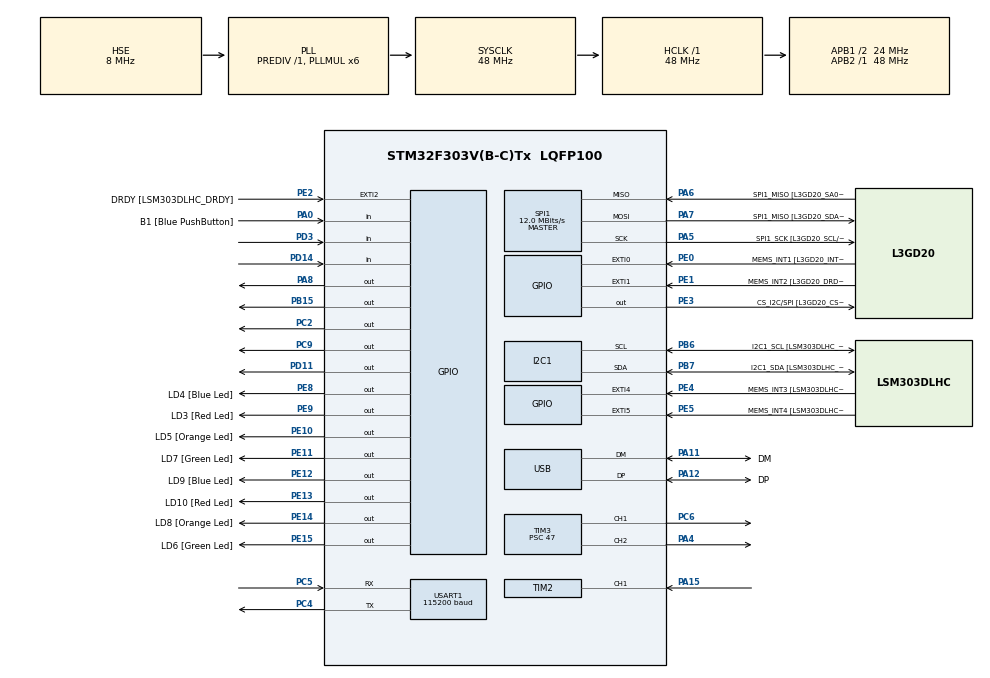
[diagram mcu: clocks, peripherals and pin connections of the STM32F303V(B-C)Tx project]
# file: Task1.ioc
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I2C1.Timing=0x00201D2B
I2C1.Timing-I2C=0x2000090E
Mcu.Family=STM32F3
Mcu.Name=STM32F303V(B-C)Tx
Mcu.Package=LQFP100
NVIC.PriorityGroup=NVIC_PRIORITYGROUP_0
NVIC.TIM2_IRQn=true\:0\:0\:false\:false\:true\:true\:true\:true
PA0.GPIO_Label=B1 [Blue PushButton]
PA0.Signal=GPIO_Input
PA11.GPIO_Label=DM
PA11.Mode=Device
PA11.Signal=USB_DM
PA12.GPIO_Label=DP
PA12.Mode=Device
PA12.Signal=USB_DP
PA13.GPIO_Label=SWDIO
PA13.Mode=Serial_Wire
PA13.Signal=SYS_JTMS-SWDIO
PA14.GPIO_Label=SWCLK
PA14.Mode=Serial_Wire
PA14.Signal=SYS_JTCK-SWCLK
PA15.Signal=S_TIM2_CH1_ETR
PA4.Signal=S_TIM3_CH2
PA5.GPIO_Label=SPI1_SCK [L3GD20_SCL/SPC]
PA5.Mode=Full_Duplex_Master
PA5.Signal=SPI1_SCK
PA6.GPIO_Label=SPI1_MISO [L3GD20_SA0/SDO]
PA6.Mode=Full_Duplex_Master
PA6.Signal=SPI1_MISO
PA7.GPIO_Label=SPI1_MISO [L3GD20_SDA/SDI/SDO]
PA7.Mode=Full_Duplex_Master
PA7.Signal=SPI1_MOSI
PA8.Signal=GPIO_Output
PB15.Signal=GPIO_Output
PB3.GPIO_Label=SWO
PB3.Signal=SYS_JTDO-TRACESWO
PB6.GPIO_Label=I2C1_SCL [LSM303DLHC_SCL]
PB6.GPIO_Pu=GPIO_PULLUP
PB6.Mode=I2C
PB6.Signal=I2C1_SCL
PB7.GPIO_Label=I2C1_SDA [LSM303DLHC_SDA]
PB7.GPIO_Pu=GPIO_PULLUP
PB7.Mode=I2C
PB7.Signal=I2C1_SDA
PC14-OSC32_IN.GPIO_Label=OSC32_IN
PC14-OSC32_IN.Signal=RCC_OSC32_IN
PC15-OSC32_OUT.GPIO_Label=OSC32_OUT
PC15-OSC32_OUT.Signal=RCC_OSC32_OUT
PC2.Signal=GPIO_Output
PC4.Mode=Asynchronous
PC4.Signal=USART1_TX
PC5.Mode=Asynchronous
PC5.Signal=USART1_RX
PC6.Signal=S_TIM3_CH1
PC9.Signal=GPIO_Output
PD11.Signal=GPIO_Output
PD14.Signal=GPIO_Input
PD3.Signal=GPIO_Input
PE0.GPIO_Label=MEMS_INT1 [L3GD20_INT1]
PE0.GPIO_ModeDefaultEXTI=GPIO_MODE_EVT_RISING
PE0.Signal=GPXTI0
PE1.GPIO_Label=MEMS_INT2 [L3GD20_DRDY/INT2]
PE1.GPIO_ModeDefaultEXTI=GPIO_MODE_EVT_RISING
PE1.Signal=GPXTI1
PE10.GPIO_Label=LD5 [Orange Led]
PE10.Signal=GPIO_Output
PE11.GPIO_Label=LD7 [Green Led]
PE11.Signal=GPIO_Output
PE12.GPIO_Label=LD9 [Blue Led]
PE12.Signal=GPIO_Output
PE13.GPIO_Label=LD10 [Red Led]
PE13.Signal=GPIO_Output
PE14.GPIO_Label=LD8 [Orange Led]
PE14.Signal=GPIO_Output
PE15.GPIO_Label=LD6 [Green Led]
PE15.Signal=GPIO_Output
PE2.GPIO_Label=DRDY [LSM303DLHC_DRDY]
PE2.GPIO_ModeDefaultEXTI=GPIO_MODE_EVT_RISING
PE2.Signal=GPXTI2
PE3.GPIO_Label=CS_I2C/SPI [L3GD20_CS_I2C/SPI]
PE3.Signal=GPIO_Output
PE4.GPIO_Label=MEMS_INT3 [LSM303DLHC_INT1]
PE4.GPIO_ModeDefaultEXTI=GPIO_MODE_EVT_RISING
PE4.Signal=GPXTI4
PE5.GPIO_Label=MEMS_INT4 [LSM303DLHC_INT2]
PE5.GPIO_ModeDefaultEXTI=GPIO_MODE_EVT_RISING
PE5.Signal=GPXTI5
PE8.GPIO_Label=LD4 [Blue Led]
PE8.Signal=GPIO_Output
PE9.GPIO_Label=LD3 [Red Led]
PE9.Signal=GPIO_Output
PF0-OSC_IN.GPIO_Label=OSC_IN
PF0-OSC_IN.Mode=HSE-External-Clock-Source
PF0-OSC_IN.Signal=RCC_OSC_IN
PF1-OSC_OUT.GPIO_Label=OSC_OUT
PF1-OSC_OUT.Signal=RCC_OSC_OUT
ProjectManager.HeapSize=0x200
ProjectManager.StackSize=0x400
ProjectManager.TargetToolchain=CMake
RCC.AHBFreq_Value=48000000
RCC.APB1CLKDivider=RCC_HCLK_DIV2
RCC.APB1Freq_Value=24000000
RCC.APB1TimFreq_Value=48000000
RCC.APB2Freq_Value=48000000
RCC.APB2TimFreq_Value=48000000
RCC.CortexFreq_Value=48000000
RCC.HCLKFreq_Value=48000000
RCC.HSE_VALUE=8000000
RCC.HSI_VALUE=8000000
RCC.LSE_VALUE=32768
RCC.PLLMUL=RCC_PLL_MUL6
RCC.SYSCLKFreq_VALUE=48000000
RCC.SYSCLKSourceVirtual=RCC_SYSCLKSOURCE_PLLCLK
RCC.USBFreq_Value=48000000
SH.S_TIM2_CH1_ETR.0=TIM2_CH1,Input_Capture1_from_TI1
SH.S_TIM3_CH1.0=TIM3_CH1,PWM Generation1 CH1
SH.S_TIM3_CH2.0=TIM3_CH2,PWM Generation2 CH2
SPI1.BaudRatePrescaler=SPI_BAUDRATEPRESCALER_4
SPI1.BaudRatePrescaler-Full_Duplex_Master=SPI_BAUDRATEPRESCALER_2
SPI1.CalculateBaudRate=12.0 MBits/s
SPI1.CalculateBaudRate-Full_Duplex_Master=24.0 MBits/s
SPI1.Direction=SPI_DIRECTION_2LINES
SPI1.Mode=SPI_MODE_MASTER
SPI1.Mode-Full_Duplex_Master=SPI_MODE_MASTER
SPI1.VirtualType=VM_MASTER
TIM2.Channel-Input_Capture1_from_TI1=TIM_CHANNEL_1
TIM2.Prescaler=0
TIM3.Channel-PWM\ Generation1\ CH1=TIM_CHANNEL_1
TIM3.Channel-PWM\ Generation2\ CH2=TIM_CHANNEL_2
TIM3.Period=999
TIM3.Prescaler=47
TIM3.Pulse-PWM\ Generation1\ CH1=500
USART1.BaudRate=115200
USART1.VirtualMode-Asynchronous=VM_ASYNC
VP_TIM2_VS_ClockSourceINT.Mode=Internal
board=STM32F3DISCOVERY

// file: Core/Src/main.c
/* USER CODE BEGIN Header */
/**
  ******************************************************************************
  * @file           : main.c
  * @brief          : Main program body
  ******************************************************************************
  * @attention
  *
  * Copyright (c) 2026 STMicroelectronics.
  * All rights reserved.
  *
  * This software is licensed under terms that can be found in the LICENSE file
  * in the root directory of this software component.
  * If no LICENSE file comes with this software, it is provided AS-IS.
  *
  ******************************************************************************
  */
/* USER CODE END Header */
#include "main.h"

/* USER CODE BEGIN Includes */
#include "stdarg.h"
#include "stdio.h"
#include "string.h"
/* USER CODE END Includes */

I2C_HandleTypeDef hi2c1;

SPI_HandleTypeDef hspi1;

TIM_HandleTypeDef htim2;
TIM_HandleTypeDef htim3;

UART_HandleTypeDef huart1;

PCD_HandleTypeDef hpcd_USB_FS;

void SystemClock_Config(void);
static void MX_GPIO_Init(void);
static void MX_I2C1_Init(void);
static void MX_SPI1_Init(void);
static void MX_TIM3_Init(void);
static void MX_USB_PCD_Init(void);
static void MX_TIM2_Init(void);
static void MX_USART1_UART_Init(void);

/* USER CODE BEGIN 0 */

void stop(){
    HAL_GPIO_WritePin(GPIOD, GPIO_PIN_11, GPIO_PIN_SET);
    HAL_GPIO_WritePin(GPIOB, GPIO_PIN_15, GPIO_PIN_SET);
    HAL_GPIO_WritePin(GPIOC, GPIO_PIN_9, GPIO_PIN_SET);
    HAL_GPIO_WritePin(GPIOC, GPIO_PIN_2, GPIO_PIN_SET);

    uint32_t ARR = 999;
    __HAL_TIM_SET_COMPARE(&htim3, TIM_CHANNEL_1 , ARR - 0);
    __HAL_TIM_SET_COMPARE(&htim3, TIM_CHANNEL_2 , ARR - 0);
}

void forward_motor(){

    HAL_GPIO_WritePin(GPIOD, GPIO_PIN_11, GPIO_PIN_RESET);
    HAL_GPIO_WritePin(GPIOB, GPIO_PIN_15, GPIO_PIN_SET);
    HAL_GPIO_WritePin(GPIOC, GPIO_PIN_9, GPIO_PIN_RESET);
    HAL_GPIO_WritePin(GPIOC, GPIO_PIN_2, GPIO_PIN_SET);

    uint32_t ARR = 999;
    __HAL_TIM_SET_COMPARE(&htim3, TIM_CHANNEL_1 , ARR );
    __HAL_TIM_SET_COMPARE(&htim3, TIM_CHANNEL_2 , ARR );
  }
  void backward_motor(){
    HAL_GPIO_WritePin(GPIOD, GPIO_PIN_11, GPIO_PIN_SET);
    HAL_GPIO_WritePin(GPIOB, GPIO_PIN_15, GPIO_PIN_RESET);
    HAL_GPIO_WritePin(GPIOC, GPIO_PIN_9, GPIO_PIN_SET);
    HAL_GPIO_WritePin(GPIOC, GPIO_PIN_2, GPIO_PIN_RESET);

    uint32_t ARR = 999;
    __HAL_TIM_SET_COMPARE(&htim3, TIM_CHANNEL_1 , ARR - 700);
    __HAL_TIM_SET_COMPARE(&htim3, TIM_CHANNEL_2 , ARR - 700);
  }

/* USER CODE BEGIN 0 */
void cout(const char *fmt, ...) {
    char buffer[128];
    va_list args;
    va_start(args, fmt);
    int l = vsnprintf(buffer, sizeof(buffer), fmt, args);
    va_end(args);
    if (l > 0) {
        HAL_UART_Transmit(&huart1, (uint8_t*)buffer, l, HAL_MAX_DELAY);
    }
}

/* Global Variables for Input Capture */
volatile uint32_t capture_ticks = 0;
volatile uint8_t is_captured = 0;
const float PPR = 330.0f;
const float TIMER_FREQ = 666666.67f; // 48MHz clock with Prescaler of 71

/* Input Capture Interrupt Callback */
void HAL_TIM_IC_CaptureCallback(TIM_HandleTypeDef *htim) {
    if (htim->Instance == TIM2) {
        // Get the captured value (time elapsed since last reset)
        capture_ticks = HAL_TIM_ReadCapturedValue(htim, TIM_CHANNEL_1);

        // Reset counter immediately for the next pulse period
        __HAL_TIM_SET_COUNTER(htim, 0);

        // Signal to the main loop that we have a new measurement
        is_captured = 1;
    }
}
/* USER CODE END 0 */

int main(void)
{

  /* MCU Configuration--------------------------------------------------------*/

  /* Reset of all peripherals, Initializes the Flash interface and the Systick. */
  HAL_Init();

  /* Configure the system clock */
  SystemClock_Config();

  /* Initialize all configured peripherals */
  MX_GPIO_Init();
  MX_I2C1_Init();
  MX_SPI1_Init();
  MX_TIM3_Init();
  MX_USB_PCD_Init();
  MX_TIM2_Init();
  MX_USART1_UART_Init();

  /* Infinite loop */
  /* USER CODE BEGIN WHILE */
  // Startt PWM for both motors
  HAL_TIM_PWM_Start(&htim3, TIM_CHANNEL_1);  // Left motor PWM (D9)
  HAL_TIM_PWM_Start(&htim3, TIM_CHANNEL_2);  // Right motor PWM (D10)

  // Set initial direction: FORWARD
  // D12 = HIGH, D8 = LOW for right motor forward
  // D7 = HIGH, D6 = LOW for left motor forward

  /* USER CODE END 2 */

  /* Infinite loop */
  /* USER CODE BEGIN WHILE */
  /* USER CODE BEGIN 2 */
  // Start PWM for both motors
  HAL_TIM_PWM_Start(&htim3, TIM_CHANNEL_1);
  HAL_TIM_PWM_Start(&htim3, TIM_CHANNEL_2);

  HAL_TIM_IC_Start_IT(&htim2, TIM_CHANNEL_1);

  // Set motor to spin forward so the encoder actually turns
  // backward_motor();
  /* USER CODE END 2 */

  /* Infinite loop */
  /* USER CODE BEGIN WHILE */
  while (1)
  {
      // Drive Left Motor Forward (PWM on D9)
      HAL_GPIO_WritePin(GPIOC, GPIO_PIN_2, GPIO_PIN_SET);
      HAL_GPIO_WritePin(GPIOC, GPIO_PIN_9, GPIO_PIN_RESET);
      __HAL_TIM_SET_COMPARE(&htim3, TIM_CHANNEL_2 , 800);

      // Drive Right Motor Forward (PWM on D10)
      HAL_GPIO_WritePin(GPIOD, GPIO_PIN_11, GPIO_PIN_SET);
      HAL_GPIO_WritePin(GPIOB, GPIO_PIN_15, GPIO_PIN_RESET);
      __HAL_TIM_SET_COMPARE(&htim3, TIM_CHANNEL_1 , 800);

      // Calculate and Print RPM if a new capture is ready
      if (is_captured) {
          float frequency = 0.0f;
          float rpm = 0.0f;

          if (capture_ticks > 0) {
              // Frequency = Timer Clock / Ticks per pulse
              frequency = TIMER_FREQ / (float)capture_ticks;

              // RPM = (Freq * 60) / Pulses Per Revolution
              rpm = (frequency * 60.0f) / PPR;

              cout("Input Capture Freq: %d Hz | RPM: %d\r\n", (int)frequency, (int)rpm);
          }

          // Reset flag to wait for the next interrupt
          is_captured = 0;
      }

      HAL_Delay(250); // Small delay to prevent flooding the serial terminal
    /* USER CODE END WHILE */

  }
}

void SystemClock_Config(void)
{
  RCC_OscInitTypeDef RCC_OscInitStruct = {0};
  RCC_ClkInitTypeDef RCC_ClkInitStruct = {0};
  RCC_PeriphCLKInitTypeDef PeriphClkInit = {0};

  /** Initializes the RCC Oscillators according to the specified parameters
  * in the RCC_OscInitTypeDef structure.
  */
  RCC_OscInitStruct.OscillatorType = RCC_OSCILLATORTYPE_HSI|RCC_OSCILLATORTYPE_HSE;
  RCC_OscInitStruct.HSEState = RCC_HSE_BYPASS;
  RCC_OscInitStruct.HSEPredivValue = RCC_HSE_PREDIV_DIV1;
  RCC_OscInitStruct.HSIState = RCC_HSI_ON;
  RCC_OscInitStruct.HSICalibrationValue = RCC_HSICALIBRATION_DEFAULT;
  RCC_OscInitStruct.PLL.PLLState = RCC_PLL_ON;
  RCC_OscInitStruct.PLL.PLLSource = RCC_PLLSOURCE_HSE;
  RCC_OscInitStruct.PLL.PLLMUL = RCC_PLL_MUL6;
  if (HAL_RCC_OscConfig(&RCC_OscInitStruct) != HAL_OK)
  {
    Error_Handler();
  }

  /** Initializes the CPU, AHB and APB buses clocks
  */
  RCC_ClkInitStruct.ClockType = RCC_CLOCKTYPE_HCLK|RCC_CLOCKTYPE_SYSCLK
                              |RCC_CLOCKTYPE_PCLK1|RCC_CLOCKTYPE_PCLK2;
  RCC_ClkInitStruct.SYSCLKSource = RCC_SYSCLKSOURCE_PLLCLK;
  RCC_ClkInitStruct.AHBCLKDivider = RCC_SYSCLK_DIV1;
  RCC_ClkInitStruct.APB1CLKDivider = RCC_HCLK_DIV2;
  RCC_ClkInitStruct.APB2CLKDivider = RCC_HCLK_DIV1;

  if (HAL_RCC_ClockConfig(&RCC_ClkInitStruct, FLASH_LATENCY_1) != HAL_OK)
  {
    Error_Handler();
  }
  PeriphClkInit.PeriphClockSelection = RCC_PERIPHCLK_USB|RCC_PERIPHCLK_USART1
                              |RCC_PERIPHCLK_I2C1;
  PeriphClkInit.Usart1ClockSelection = RCC_USART1CLKSOURCE_PCLK2;
  PeriphClkInit.I2c1ClockSelection = RCC_I2C1CLKSOURCE_HSI;
  PeriphClkInit.USBClockSelection = RCC_USBCLKSOURCE_PLL;
  if (HAL_RCCEx_PeriphCLKConfig(&PeriphClkInit) != HAL_OK)
  {
    Error_Handler();
  }
}

static void MX_I2C1_Init(void)
{

  hi2c1.Instance = I2C1;
  hi2c1.Init.Timing = 0x00201D2B;
  hi2c1.Init.OwnAddress1 = 0;
  hi2c1.Init.AddressingMode = I2C_ADDRESSINGMODE_7BIT;
  hi2c1.Init.DualAddressMode = I2C_DUALADDRESS_DISABLE;
  hi2c1.Init.OwnAddress2 = 0;
  hi2c1.Init.OwnAddress2Masks = I2C_OA2_NOMASK;
  hi2c1.Init.GeneralCallMode = I2C_GENERALCALL_DISABLE;
  hi2c1.Init.NoStretchMode = I2C_NOSTRETCH_DISABLE;
  if (HAL_I2C_Init(&hi2c1) != HAL_OK)
  {
    Error_Handler();
  }

  /** Configure Analogue filter
  */
  if (HAL_I2CEx_ConfigAnalogFilter(&hi2c1, I2C_ANALOGFILTER_ENABLE) != HAL_OK)
  {
    Error_Handler();
  }

  /** Configure Digital filter
  */
  if (HAL_I2CEx_ConfigDigitalFilter(&hi2c1, 0) != HAL_OK)
  {
    Error_Handler();
  }

}

static void MX_SPI1_Init(void)
{

  /* SPI1 parameter configuration*/
  hspi1.Instance = SPI1;
  hspi1.Init.Mode = SPI_MODE_MASTER;
  hspi1.Init.Direction = SPI_DIRECTION_2LINES;
  hspi1.Init.DataSize = SPI_DATASIZE_4BIT;
  hspi1.Init.CLKPolarity = SPI_POLARITY_LOW;
  hspi1.Init.CLKPhase = SPI_PHASE_1EDGE;
  hspi1.Init.NSS = SPI_NSS_SOFT;
  hspi1.Init.BaudRatePrescaler = SPI_BAUDRATEPRESCALER_4;
  hspi1.Init.FirstBit = SPI_FIRSTBIT_MSB;
  hspi1.Init.TIMode = SPI_TIMODE_DISABLE;
  hspi1.Init.CRCCalculation = SPI_CRCCALCULATION_DISABLE;
  hspi1.Init.CRCPolynomial = 7;
  hspi1.Init.CRCLength = SPI_CRC_LENGTH_DATASIZE;
  hspi1.Init.NSSPMode = SPI_NSS_PULSE_ENABLE;
  if (HAL_SPI_Init(&hspi1) != HAL_OK)
  {
    Error_Handler();
  }

}

static void MX_TIM2_Init(void)
{

  TIM_ClockConfigTypeDef sClockSourceConfig = {0};
  TIM_MasterConfigTypeDef sMasterConfig = {0};
  TIM_IC_InitTypeDef sConfigIC = {0};

  htim2.Instance = TIM2;
  htim2.Init.Prescaler = 0;
  htim2.Init.CounterMode = TIM_COUNTERMODE_UP;
  htim2.Init.Period = 4294967295;
  htim2.Init.ClockDivision = TIM_CLOCKDIVISION_DIV1;
  htim2.Init.AutoReloadPreload = TIM_AUTORELOAD_PRELOAD_DISABLE;
  if (HAL_TIM_Base_Init(&htim2) != HAL_OK)
  {
    Error_Handler();
  }
  sClockSourceConfig.ClockSource = TIM_CLOCKSOURCE_INTERNAL;
  if (HAL_TIM_ConfigClockSource(&htim2, &sClockSourceConfig) != HAL_OK)
  {
    Error_Handler();
  }
  if (HAL_TIM_IC_Init(&htim2) != HAL_OK)
  {
    Error_Handler();
  }
  sMasterConfig.MasterOutputTrigger = TIM_TRGO_RESET;
  sMasterConfig.MasterSlaveMode = TIM_MASTERSLAVEMODE_DISABLE;
  if (HAL_TIMEx_MasterConfigSynchronization(&htim2, &sMasterConfig) != HAL_OK)
  {
    Error_Handler();
  }
  sConfigIC.ICPolarity = TIM_INPUTCHANNELPOLARITY_RISING;
  sConfigIC.ICSelection = TIM_ICSELECTION_DIRECTTI;
  sConfigIC.ICPrescaler = TIM_ICPSC_DIV1;
  sConfigIC.ICFilter = 0;
  if (HAL_TIM_IC_ConfigChannel(&htim2, &sConfigIC, TIM_CHANNEL_1) != HAL_OK)
  {
    Error_Handler();
  }

}

static void MX_TIM3_Init(void)
{

  TIM_MasterConfigTypeDef sMasterConfig = {0};
  TIM_OC_InitTypeDef sConfigOC = {0};

  htim3.Instance = TIM3;
  htim3.Init.Prescaler = 47;
  htim3.Init.CounterMode = TIM_COUNTERMODE_UP;
  htim3.Init.Period = 999;
  htim3.Init.ClockDivision = TIM_CLOCKDIVISION_DIV1;
  htim3.Init.AutoReloadPreload = TIM_AUTORELOAD_PRELOAD_DISABLE;
  if (HAL_TIM_PWM_Init(&htim3) != HAL_OK)
  {
    Error_Handler();
  }
  sMasterConfig.MasterOutputTrigger = TIM_TRGO_RESET;
  sMasterConfig.MasterSlaveMode = TIM_MASTERSLAVEMODE_DISABLE;
  if (HAL_TIMEx_MasterConfigSynchronization(&htim3, &sMasterConfig) != HAL_OK)
  {
    Error_Handler();
  }
  sConfigOC.OCMode = TIM_OCMODE_PWM1;
  sConfigOC.Pulse = 500;
  sConfigOC.OCPolarity = TIM_OCPOLARITY_HIGH;
  sConfigOC.OCFastMode = TIM_OCFAST_DISABLE;
  if (HAL_TIM_PWM_ConfigChannel(&htim3, &sConfigOC, TIM_CHANNEL_1) != HAL_OK)
  {
    Error_Handler();
  }
  sConfigOC.Pulse = 0;
  if (HAL_TIM_PWM_ConfigChannel(&htim3, &sConfigOC, TIM_CHANNEL_2) != HAL_OK)
  {
    Error_Handler();
  }
  HAL_TIM_MspPostInit(&htim3);

}

static void MX_USART1_UART_Init(void)
{

  huart1.Instance = USART1;
  huart1.Init.BaudRate = 115200;
  huart1.Init.WordLength = UART_WORDLENGTH_8B;
  huart1.Init.StopBits = UART_STOPBITS_1;
  huart1.Init.Parity = UART_PARITY_NONE;
  huart1.Init.Mode = UART_MODE_TX_RX;
  huart1.Init.HwFlowCtl = UART_HWCONTROL_NONE;
  huart1.Init.OverSampling = UART_OVERSAMPLING_16;
  huart1.Init.OneBitSampling = UART_ONE_BIT_SAMPLE_DISABLE;
  huart1.AdvancedInit.AdvFeatureInit = UART_ADVFEATURE_NO_INIT;
  if (HAL_UART_Init(&huart1) != HAL_OK)
  {
    Error_Handler();
  }

}

static void MX_USB_PCD_Init(void)
{

  hpcd_USB_FS.Instance = USB;
  hpcd_USB_FS.Init.dev_endpoints = 8;
  hpcd_USB_FS.Init.speed = PCD_SPEED_FULL;
  hpcd_USB_FS.Init.phy_itface = PCD_PHY_EMBEDDED;
  hpcd_USB_FS.Init.low_power_enable = DISABLE;
  hpcd_USB_FS.Init.battery_charging_enable = DISABLE;
  if (HAL_PCD_Init(&hpcd_USB_FS) != HAL_OK)
  {
    Error_Handler();
  }

}

static void MX_GPIO_Init(void)
{
  GPIO_InitTypeDef GPIO_InitStruct = {0};

  /* GPIO Ports Clock Enable */
  __HAL_RCC_GPIOE_CLK_ENABLE();
  __HAL_RCC_GPIOC_CLK_ENABLE();
  __HAL_RCC_GPIOF_CLK_ENABLE();
  __HAL_RCC_GPIOA_CLK_ENABLE();
  __HAL_RCC_GPIOB_CLK_ENABLE();
  __HAL_RCC_GPIOD_CLK_ENABLE();

  /*Configure GPIO pin Output Level */
  HAL_GPIO_WritePin(GPIOE, CS_I2C_SPI_Pin|LD4_Pin|LD3_Pin|LD5_Pin
                          |LD7_Pin|LD9_Pin|LD10_Pin|LD8_Pin
                          |LD6_Pin, GPIO_PIN_RESET);

  /*Configure GPIO pin Output Level */
  HAL_GPIO_WritePin(GPIOC, GPIO_PIN_2|GPIO_PIN_9, GPIO_PIN_RESET);

  /*Configure GPIO pin Output Level */
  HAL_GPIO_WritePin(GPIOB, GPIO_PIN_15, GPIO_PIN_RESET);

  /*Configure GPIO pin Output Level */
  HAL_GPIO_WritePin(GPIOD, GPIO_PIN_11, GPIO_PIN_RESET);

  /*Configure GPIO pin Output Level */
  HAL_GPIO_WritePin(GPIOA, GPIO_PIN_8, GPIO_PIN_RESET);

  /*Configure GPIO pins : DRDY_Pin MEMS_INT3_Pin MEMS_INT4_Pin MEMS_INT1_Pin
                           MEMS_INT2_Pin */
  GPIO_InitStruct.Pin = DRDY_Pin|MEMS_INT3_Pin|MEMS_INT4_Pin|MEMS_INT1_Pin
                          |MEMS_INT2_Pin;
  GPIO_InitStruct.Mode = GPIO_MODE_EVT_RISING;
  GPIO_InitStruct.Pull = GPIO_NOPULL;
  HAL_GPIO_Init(GPIOE, &GPIO_InitStruct);

  /*Configure GPIO pins : CS_I2C_SPI_Pin LD4_Pin LD3_Pin LD5_Pin
                           LD7_Pin LD9_Pin LD10_Pin LD8_Pin
                           LD6_Pin */
  GPIO_InitStruct.Pin = CS_I2C_SPI_Pin|LD4_Pin|LD3_Pin|LD5_Pin
                          |LD7_Pin|LD9_Pin|LD10_Pin|LD8_Pin
                          |LD6_Pin;
  GPIO_InitStruct.Mode = GPIO_MODE_OUTPUT_PP;
  GPIO_InitStruct.Pull = GPIO_NOPULL;
  GPIO_InitStruct.Speed = GPIO_SPEED_FREQ_LOW;
  HAL_GPIO_Init(GPIOE, &GPIO_InitStruct);

  /*Configure GPIO pins : PC2 PC9 */
  GPIO_InitStruct.Pin = GPIO_PIN_2|GPIO_PIN_9;
  GPIO_InitStruct.Mode = GPIO_MODE_OUTPUT_PP;
  GPIO_InitStruct.Pull = GPIO_NOPULL;
  GPIO_InitStruct.Speed = GPIO_SPEED_FREQ_LOW;
  HAL_GPIO_Init(GPIOC, &GPIO_InitStruct);

  /*Configure GPIO pin : B1_Pin */
  GPIO_InitStruct.Pin = B1_Pin;
  GPIO_InitStruct.Mode = GPIO_MODE_INPUT;
  GPIO_InitStruct.Pull = GPIO_NOPULL;
  HAL_GPIO_Init(B1_GPIO_Port, &GPIO_InitStruct);

  /*Configure GPIO pin : PB15 */
  GPIO_InitStruct.Pin = GPIO_PIN_15;
  GPIO_InitStruct.Mode = GPIO_MODE_OUTPUT_PP;
  GPIO_InitStruct.Pull = GPIO_NOPULL;
  GPIO_InitStruct.Speed = GPIO_SPEED_FREQ_LOW;
  HAL_GPIO_Init(GPIOB, &GPIO_InitStruct);

  /*Configure GPIO pin : PD11 */
  GPIO_InitStruct.Pin = GPIO_PIN_11;
  GPIO_InitStruct.Mode = GPIO_MODE_OUTPUT_PP;
  GPIO_InitStruct.Pull = GPIO_NOPULL;
  GPIO_InitStruct.Speed = GPIO_SPEED_FREQ_LOW;
  HAL_GPIO_Init(GPIOD, &GPIO_InitStruct);

  /*Configure GPIO pins : PD14 PD3 */
  GPIO_InitStruct.Pin = GPIO_PIN_14|GPIO_PIN_3;
  GPIO_InitStruct.Mode = GPIO_MODE_INPUT;
  GPIO_InitStruct.Pull = GPIO_NOPULL;
  HAL_GPIO_Init(GPIOD, &GPIO_InitStruct);

  /*Configure GPIO pin : PA8 */
  GPIO_InitStruct.Pin = GPIO_PIN_8;
  GPIO_InitStruct.Mode = GPIO_MODE_OUTPUT_PP;
  GPIO_InitStruct.Pull = GPIO_NOPULL;
  GPIO_InitStruct.Speed = GPIO_SPEED_FREQ_LOW;
  HAL_GPIO_Init(GPIOA, &GPIO_InitStruct);

}

void Error_Handler(void)
{
  __disable_irq();
  while (1)
  {
  }
}
